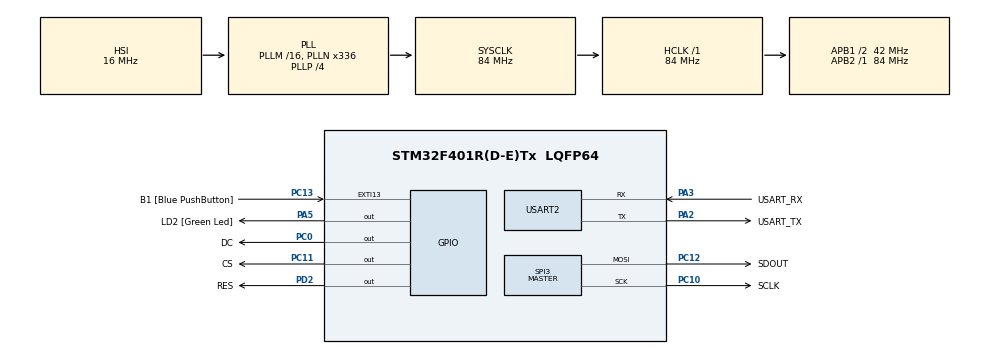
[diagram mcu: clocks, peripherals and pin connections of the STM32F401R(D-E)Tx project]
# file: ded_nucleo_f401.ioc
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Dma.Request0=USART2_RX
Dma.USART2_RX.0.Direction=DMA_PERIPH_TO_MEMORY
Dma.USART2_RX.0.FIFOMode=DMA_FIFOMODE_DISABLE
Dma.USART2_RX.0.Instance=DMA1_Stream5
Dma.USART2_RX.0.MemDataAlignment=DMA_MDATAALIGN_BYTE
Dma.USART2_RX.0.MemInc=DMA_MINC_ENABLE
Dma.USART2_RX.0.Mode=DMA_NORMAL
Dma.USART2_RX.0.PeriphDataAlignment=DMA_PDATAALIGN_BYTE
Dma.USART2_RX.0.PeriphInc=DMA_PINC_DISABLE
Dma.USART2_RX.0.Priority=DMA_PRIORITY_LOW
Mcu.Family=STM32F4
Mcu.Name=STM32F401R(D-E)Tx
Mcu.Package=LQFP64
NVIC.DMA1_Stream5_IRQn=true\:0\:0\:false\:false\:true\:false\:true
NVIC.PriorityGroup=NVIC_PRIORITYGROUP_0
NVIC.USART2_IRQn=true\:0\:0\:false\:false\:true\:true\:true
PA13.GPIO_Label=TMS
PA13.Mode=Serial_Wire
PA13.Signal=SYS_JTMS-SWDIO
PA14.GPIO_Label=TCK
PA14.Mode=Serial_Wire
PA14.Signal=SYS_JTCK-SWCLK
PA2.GPIO_Label=USART_TX
PA2.GPIO_Mode=GPIO_MODE_AF_PP
PA2.GPIO_PuPd=GPIO_NOPULL
PA2.GPIO_Speed=GPIO_SPEED_FREQ_LOW
PA2.Mode=Asynchronous
PA2.Signal=USART2_TX
PA3.GPIO_Label=USART_RX
PA3.GPIO_Mode=GPIO_MODE_AF_PP
PA3.GPIO_PuPd=GPIO_NOPULL
PA3.GPIO_Speed=GPIO_SPEED_FREQ_LOW
PA3.Mode=Asynchronous
PA3.Signal=USART2_RX
PA5.GPIO_Label=LD2 [Green Led]
PA5.GPIO_Mode=GPIO_MODE_OUTPUT_PP
PA5.GPIO_PuPd=GPIO_NOPULL
PA5.GPIO_Speed=GPIO_SPEED_FREQ_LOW
PA5.Signal=GPIO_Output
PB3.GPIO_Label=SWO
PB3.Signal=SYS_JTDO-SWO
PC0.GPIO_Label=DC
PC0.Signal=GPIO_Output
PC10.GPIO_Label=SCLK
PC10.Mode=TX_Only_Simplex_Unidirect_Master
PC10.Signal=SPI3_SCK
PC11.GPIO_Label=CS
PC11.Signal=GPIO_Output
PC12.GPIO_Label=SDOUT
PC12.Mode=TX_Only_Simplex_Unidirect_Master
PC12.Signal=SPI3_MOSI
PC13-ANTI_TAMP.GPIO_Label=B1 [Blue PushButton]
PC13-ANTI_TAMP.GPIO_ModeDefaultEXTI=GPIO_MODE_IT_FALLING
PC13-ANTI_TAMP.GPIO_PuPd=GPIO_NOPULL
PC13-ANTI_TAMP.Signal=GPXTI13
PC14-OSC32_IN.Mode=LSE-External-Oscillator
PC14-OSC32_IN.Signal=RCC_OSC32_IN
PC15-OSC32_OUT.Mode=LSE-External-Oscillator
PC15-OSC32_OUT.Signal=RCC_OSC32_OUT
PD2.GPIO_Label=RES
PD2.Signal=GPIO_Output
PH0\ -\ OSC_IN.Mode=HSE-External-Clock-Source
PH0\ -\ OSC_IN.Signal=RCC_OSC_IN
PH1\ -\ OSC_OUT.Mode=HSE-External-Clock-Source
PH1\ -\ OSC_OUT.Signal=RCC_OSC_OUT
ProjectManager.HeapSize=0x200
ProjectManager.StackSize=0x400
ProjectManager.TargetToolchain=STM32CubeIDE
RCC.48MHZClocksFreq_Value=48000000
RCC.AHBFreq_Value=84000000
RCC.APB1CLKDivider=RCC_HCLK_DIV2
RCC.APB1Freq_Value=42000000
RCC.APB1TimFreq_Value=84000000
RCC.APB2Freq_Value=84000000
RCC.APB2TimFreq_Value=84000000
RCC.CortexFreq_Value=84000000
RCC.HCLKFreq_Value=84000000
RCC.HSE_VALUE=8000000
RCC.HSI_VALUE=16000000
RCC.PLLN=336
RCC.PLLP=RCC_PLLP_DIV4
RCC.PLLQ=7
RCC.SYSCLKFreq_VALUE=84000000
RCC.SYSCLKSource=RCC_SYSCLKSOURCE_PLLCLK
RCC.VCOOutputFreq_Value=336000000
SPI3.CLKPhase=SPI_PHASE_2EDGE
SPI3.CLKPolarity=SPI_POLARITY_HIGH
SPI3.Direction=SPI_DIRECTION_2LINES
SPI3.Mode=SPI_MODE_MASTER
SPI3.VirtualType=VM_MASTER
USART2.VirtualMode=VM_ASYNC
board=NUCLEO-F401RE

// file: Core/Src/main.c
/* USER CODE BEGIN Header */
/**
  ******************************************************************************
  * @file           : main.c
  * @brief          : Main program body
  ******************************************************************************
  * @attention
  *
  * <h2><center>&copy; Copyright (c) 2021 STMicroelectronics.
  * All rights reserved.</center></h2>
  *
  * This software component is licensed by ST under BSD 3-Clause license,
  * the "License"; You may not use this file except in compliance with the
  * License. You may obtain a copy of the License at:
  *                        opensource.org/licenses/BSD-3-Clause
  *
  ******************************************************************************
  */
/* USER CODE END Header */
#include "main.h"
#include "dma.h"
#include "spi.h"
#include "usart.h"
#include "gpio.h"

/* USER CODE BEGIN Includes */
#include "stdio.h"
#include "string.h"
#include "ssd1322.h"
/* USER CODE END Includes */

/* USER CODE BEGIN PD */
#define DMA_RX_BUFFER_SIZE      512       // DMA_RX_BUFFER_SIZE must be smaller than COM_RX_BUFFER_SIZE and power of 2 !!!
#define COM_RX_BUFFER_SIZE      1024     	// COM_RX_BUFFER_SIZE must be larger than DMA_RX_BUFFER_SIZE and power of 2 !!!
/* USER CODE END PD */

/* USER CODE BEGIN PV */
uint8_t  volatile   DmaRxBuffer[DMA_RX_BUFFER_SIZE];
uint8_t  volatile   ComRxBuffer[COM_RX_BUFFER_SIZE];
uint16_t volatile   ComRxIn;
uint16_t            ComRxOut;
/* USER CODE END PV */

void SystemClock_Config(void);
/* USER CODE BEGIN PFP */
void UpdateDisplay(void);
void StartReceive(void);
/* USER CODE END PFP */

int main(void)
{

  /* MCU Configuration--------------------------------------------------------*/

  /* Reset of all peripherals, Initializes the Flash interface and the Systick. */
  HAL_Init();

  /* Configure the system clock */
  SystemClock_Config();

  /* Initialize all configured peripherals */
  MX_GPIO_Init();
  MX_DMA_Init();
  MX_USART2_UART_Init();
  MX_SPI3_Init();
  /* USER CODE BEGIN 2 */

  // Initialize OLED display
  SSD1322_Initialize();

  // Start receiving data from UART
  StartReceive();

  /* USER CODE END 2 */

  /* Infinite loop */
  /* USER CODE BEGIN WHILE */
  while (1)
  {
    UpdateDisplay();
    /* USER CODE END WHILE */

  }
}

void SystemClock_Config(void)
{
  RCC_OscInitTypeDef RCC_OscInitStruct = {0};
  RCC_ClkInitTypeDef RCC_ClkInitStruct = {0};

  /** Configure the main internal regulator output voltage
  */
  __HAL_RCC_PWR_CLK_ENABLE();
  __HAL_PWR_VOLTAGESCALING_CONFIG(PWR_REGULATOR_VOLTAGE_SCALE2);
  /** Initializes the RCC Oscillators according to the specified parameters
  * in the RCC_OscInitTypeDef structure.
  */
  RCC_OscInitStruct.OscillatorType = RCC_OSCILLATORTYPE_HSI;
  RCC_OscInitStruct.HSIState = RCC_HSI_ON;
  RCC_OscInitStruct.HSICalibrationValue = RCC_HSICALIBRATION_DEFAULT;
  RCC_OscInitStruct.PLL.PLLState = RCC_PLL_ON;
  RCC_OscInitStruct.PLL.PLLSource = RCC_PLLSOURCE_HSI;
  RCC_OscInitStruct.PLL.PLLM = 16;
  RCC_OscInitStruct.PLL.PLLN = 336;
  RCC_OscInitStruct.PLL.PLLP = RCC_PLLP_DIV4;
  RCC_OscInitStruct.PLL.PLLQ = 7;
  if (HAL_RCC_OscConfig(&RCC_OscInitStruct) != HAL_OK)
  {
    Error_Handler();
  }
  /** Initializes the CPU, AHB and APB buses clocks
  */
  RCC_ClkInitStruct.ClockType = RCC_CLOCKTYPE_HCLK|RCC_CLOCKTYPE_SYSCLK
                              |RCC_CLOCKTYPE_PCLK1|RCC_CLOCKTYPE_PCLK2;
  RCC_ClkInitStruct.SYSCLKSource = RCC_SYSCLKSOURCE_PLLCLK;
  RCC_ClkInitStruct.AHBCLKDivider = RCC_SYSCLK_DIV1;
  RCC_ClkInitStruct.APB1CLKDivider = RCC_HCLK_DIV2;
  RCC_ClkInitStruct.APB2CLKDivider = RCC_HCLK_DIV1;

  if (HAL_RCC_ClockConfig(&RCC_ClkInitStruct, FLASH_LATENCY_2) != HAL_OK)
  {
    Error_Handler();
  }
}

/* USER CODE BEGIN 4 */
void UpdateDisplay(void)
{
  uint16_t Length;
  uint16_t Buffer[120];

  if (ComRxIn == ComRxOut)
  {
    return;
  }
  else
  {
    if (ComRxIn > ComRxOut)
    {
      Length = ComRxIn - ComRxOut;
    }
    else
    {
      Length = (COM_RX_BUFFER_SIZE - ComRxOut) + ComRxIn;
    }
  }

  if (Length >= 240)
  {
    for (uint16_t i = 0; i < 120; i++)
    {
      Buffer[i]  = ComRxBuffer[ComRxOut];
      ComRxOut   = (ComRxOut + 1) % COM_RX_BUFFER_SIZE;
      Buffer[i] |= (ComRxBuffer[ComRxOut]<<8);
      ComRxOut   = (ComRxOut + 1) % COM_RX_BUFFER_SIZE;
    }

    for (uint16_t i = 0; i < 120; i++)
    {
      SSD1322_DrawUnicode(Buffer[i], 20 + ((i % 24) * 9), 0 + ((9 + 4) * (i / 24)), i < 66 ? 0 : 1);
    }

    SSD1322_Display();
  }
}

void StartReceive(void)
{
  if (&huart2 != NULL)
  {
    __HAL_UART_ENABLE_IT(&huart2, UART_IT_IDLE);            // Enable idle line interrupt
    __HAL_DMA_ENABLE_IT(huart2.hdmarx, DMA_IT_TC);        // Enable DMA RX complete interrupt

    HAL_UART_Receive_DMA(&huart2, (uint8_t*)(DmaRxBuffer), DMA_RX_BUFFER_SIZE);

#if defined (STM32F4)
    huart2.hdmarx->Instance->CR  &= ~DMA_SxCR_HTIE;       // Disable UART half TX interrupt
#elif defined(STM32F1)
//    huart2->hdmarx->Instance->CCR &= ~DMA_CCR_HTIE;        // Disable UART half TX interrupt
#else
    #error "Specific STM32 has not been defined"
#endif

    // Reset buffer pointers
    ComRxIn  = 0;
    ComRxOut = ComRxIn;
  }
}

void USART_IrqHandler(UART_HandleTypeDef *huart, DMA_HandleTypeDef *hdma)
{
  uint16_t StatusRegister = huart->Instance->SR;

//  if (huart->Instance->SR & UART_FLAG_IDLE)           /* if Idle flag is set */
  if (StatusRegister & UART_FLAG_IDLE)                /* if Idle flag is set */
  {
    uint32_t volatile tmp;                            /* Must be volatile to prevent optimizations */
    tmp = huart->Instance->SR;                        /* Read status register */
    tmp = huart->Instance->DR;                        /* Read data register */

#if defined (STM32F4)
    hdma->Instance->CR  &= ~DMA_SxCR_EN;              /* Disabling DMA will force transfer complete interrupt if enabled */
#elif defined (STM32F1)
    hdma->Instance->CCR &= ~DMA_CCR_EN;               /* Disabling DMA will force transfer complete interrupt if enabled */

//    if (huart->Instance->SR & (UART_FLAG_ORE | UART_FLAG_NE | UART_FLAG_FE | UART_FLAG_PE))
    if (StatusRegister & (UART_FLAG_ORE | UART_FLAG_NE | UART_FLAG_FE | UART_FLAG_PE))
    {
      DMA_TypeDef* regs = hdma->DmaBaseAddress;

      /* Important! DMA stream won't start if all flags are not cleared first */
      regs->IFCR = 0x3FU << hdma->ChannelIndex;           /* Clear all interrupts */
      hdma->Instance->CMAR   = (uint32_t)(DmaRxBuffer);   /* Set memory address for DMA again */
      hdma->Instance->CNDTR  = DMA_RX_BUFFER_SIZE;        /* Set number of bytes to receive */
      hdma->Instance->CCR   |= DMA_CCR_EN;                /* Start DMA transfer */
    }
    else
    {
      DMA_IrqHandler(hdma);
    }
#else
    #error "Specific STM32 has not been defined"
#endif
  }
  else
  {
    HAL_UART_IRQHandler(huart);
  }
}

void DMA_IrqHandler(DMA_HandleTypeDef *hdma)
{
  uint16_t len;
  uint16_t tocopy;
  uint8_t* ptr;

#if defined (STM32F4)
  typedef struct
  {
    __IO uint32_t ISR;   /*!< DMA interrupt status register */
    __IO uint32_t Reserved0;
    __IO uint32_t IFCR;  /*!< DMA interrupt flag clear register */
  } DMA_Base_Registers;

  DMA_Base_Registers *regs = (DMA_Base_Registers *)(hdma->StreamBaseAddress);
#elif defined (STM32F1)
  DMA_TypeDef* regs = hdma->DmaBaseAddress;
#else
  #error "Specific STM32 has not been defined"
#endif

  if (__HAL_DMA_GET_IT_SOURCE(hdma, DMA_IT_TC) != RESET)   // if the source is TC
  {
#if defined (STM32F4)
    /* Clear the transfer complete flag */
    regs->IFCR = DMA_FLAG_TCIF1_5 << hdma->StreamIndex;

    /* Get the length of the data */
    len = DMA_RX_BUFFER_SIZE - hdma->Instance->NDTR;
#elif defined(STM32F1)
    /* Clear the transfer complete flag */
    regs->IFCR = DMA_FLAG_TC1 << hdma->ChannelIndex;
    //regs->IFCR = DMA_FLAG_GL1 << hdma->ChannelIndex;
    //((DMA_TypeDef*)(hdma->DmaBaseAddress))->IFCR = DMA_FLAG_TC1 << hdma->ChannelIndex;// regs->IFCR = DMA_FLAG_TC1 << hdma->ChannelIndex;

    /* Get the length of the data */
    len = DMA_RX_BUFFER_SIZE - hdma->Instance->CNDTR;
#else
    #error "Specific STM32 has not been defined"
#endif

#if 1
    if (len > 0)
    {
      tocopy = 0;
    }

    /* Get number of bytes we can copy to the end of buffer */
    tocopy = COM_RX_BUFFER_SIZE - ComRxIn;

    /* Check how many bytes to copy */
    if (tocopy > len)
    {
      tocopy = len;
    }

    /* Write received data for UART main buffer for manipulation later */
    ptr = (uint8_t*)(DmaRxBuffer);

    memcpy((void*)(&ComRxBuffer[ComRxIn]), ptr, tocopy);   /* Copy first part */

    /* Correct values for remaining data */
    ComRxIn += tocopy;
    len -= tocopy;
    ptr += tocopy;

    /* UNCOMMENT BELOW TO transmit the data via uart */
//    HAL_UART_Transmit(&huart2, &UART_Buffer[Write-tocopy], tocopy, 10);

    /* If still data to write for beginning of buffer */
    if (len)
    {
      memcpy((void*)&ComRxBuffer[0], ptr, len);          /* Don't care if we override Read pointer now */
      ComRxIn = len;

      /* UNCOMMENT BELOW TO transmit the data via uart */
//      HAL_UART_Transmit(&huart2, UART_Buffer, len, 10);  // transmit the remaining data
    }
#else
    cUsb_Write((uint8_t*)(DmaRxBuffer), DMA_RX_BUFFER_SIZE - hdma->Instance->CNDTR, 0);
#endif

    ComRxIn %= COM_RX_BUFFER_SIZE;

    /* Prepare DMA for next transfer */
#if defined (STM32F4)
    /* Important! DMA stream won't start if all flags are not cleared first */
    regs->IFCR = 0x3FU << hdma->StreamIndex;            /* Clear all interrupts */
    hdma->Instance->M0AR   = (uint32_t)DmaRxBuffer;     /* Set memory address for DMA again */
    hdma->Instance->NDTR   = DMA_RX_BUFFER_SIZE;        /* Set number of bytes to receive */
    hdma->Instance->CR    |= DMA_SxCR_EN;               /* Start DMA transfer */
#elif defined (STM32F1)
    /* Important! DMA stream won't start if all flags are not cleared first */
    regs->IFCR = 0x3FU << hdma->ChannelIndex;           /* Clear all interrupts */
    hdma->Instance->CMAR   = (uint32_t)(DmaRxBuffer);   /* Set memory address for DMA again */
    hdma->Instance->CNDTR  = DMA_RX_BUFFER_SIZE;        /* Set number of bytes to receive */
    hdma->Instance->CCR   |= DMA_CCR_EN;                /* Start DMA transfer */
#else
    #error "Specific STM32 has not been defined"
#endif
  }
}
/* USER CODE END 4 */

void Error_Handler(void)
{
  __disable_irq();
  while (1)
  {
  }
}

/************************ (C) COPYRIGHT STMicroelectronics *****END OF FILE****/
